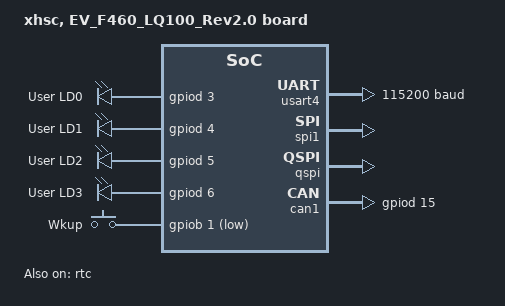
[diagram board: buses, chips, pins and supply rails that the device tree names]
/*
 * Copyright (C) 2022-2024, Xiaohua Semiconductor Co., Ltd.
 * SPDX-License-Identifier: Apache-2.0
 */

/dts-v1/;
#include <xhsc/f4/hc32f460.dtsi>

/ {
	model = "xhsc, EV_F460_LQ100_Rev2.0 board";
	compatible = "xhsc,hc32f460_evb";

	chosen {
		zephyr,sram = &sram0;
		zephyr,flash = &flash0;
		zephyr,console = &usart4;
		zephyr,shell-uart = &usart4;
	};

	leds {
		compatible = "gpio-leds";
		red_led: led_0 {
			gpios = <&gpiod 3 GPIO_INT_ACTIVE_HIGH>;
			label = "User LD0";
		};
		green_led: led_1 {
			gpios = <&gpiod 4 GPIO_INT_ACTIVE_HIGH>;
			label = "User LD1";
		};
		yellow_led: led_2 {
			gpios = <&gpiod 5 GPIO_INT_ACTIVE_HIGH>;
			label = "User LD2";
		};
		blue_led: led_3 {
			gpios = <&gpiod 6 GPIO_INT_ACTIVE_HIGH>;
			label = "User LD3";
		};
	};

	gpio_keys {
		compatible = "gpio-keys";
		user_button: button {
			label = "Wkup";
			gpios = <&gpiob 1 GPIO_INT_ACTIVE_LOW>;
		};
	};

	aliases {
		led0 = &green_led;
		sw0 = &user_button;
	};
};


&usart4 {
	current-speed = <115200>;
	status = "ok";
};

&dma1{
	status = "ok";
};

&spi1 {
	status = "ok";
	dma-tx-cfg =  < (HC32_DT_DMA_UNIT(DMA1) | HC32_DT_DMA_CH(1) | HC32_DT_DMA_SLOT(EVT_SRC_SPI1_SPTI)) >;
	dma-rx-cfg = < (HC32_DT_DMA_UNIT(DMA1) | HC32_DT_DMA_CH(2) | HC32_DT_DMA_SLOT(EVT_SRC_SPI1_SPRI)) >;
};



&qspi {
	status = "ok";
	dma-tx-cfg =  < (HC32_DT_DMA_UNIT(DMA1) | HC32_DT_DMA_CH(1)) >;
	dma-rx-cfg = < (HC32_DT_DMA_UNIT(DMA1) | HC32_DT_DMA_CH(2)) >;
};

&rtc{
	status = "ok";
	clock-src = <HC32_CLK_SRC_XTAL32>;
};

&can1 {
	gpios = <&gpiod 15 GPIO_INT_ACTIVE_LOW>;
};
